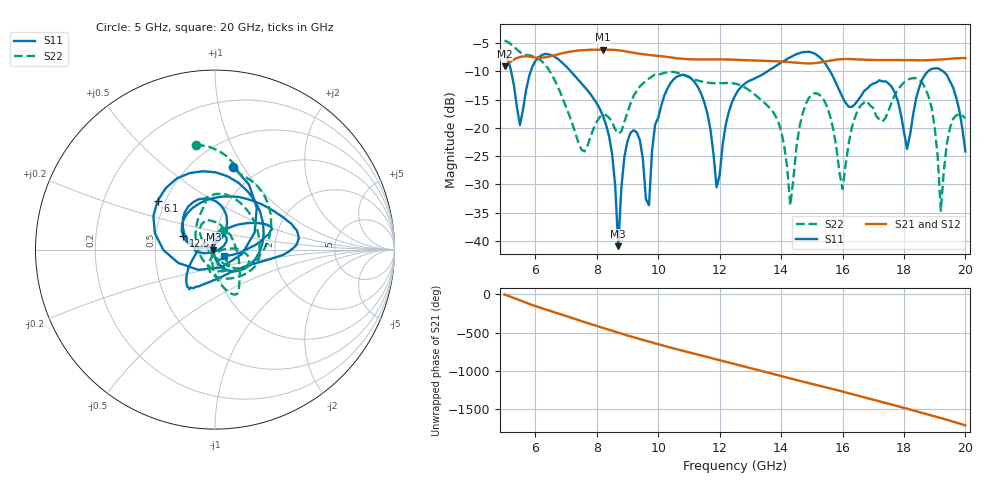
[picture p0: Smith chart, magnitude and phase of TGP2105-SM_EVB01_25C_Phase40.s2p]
! Date: Wednesday, June 05, 2013  1:51 PM
! Filename: C:\Data\Mike_Arnold\TGP2105-SM\Over_Temp\TGP2105-SM_EVB01_25C_Phase40.s2p
! Comments:
!^VDC(V):5.000
!^VDC(mA):0.049
!%Freq(GHz),S11(dB),S11(ang),S21(dB),S21(ang),S12(dB),S12(ang),S22(dB),S22(ang)
# GHz  S  DB  R  50
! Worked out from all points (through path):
!   151 points, 5 GHz to 20 GHz, reference 50 ohm
!   highest |S21| = -6.15 dB at 8.2 GHz (marker M1); lowest = -9.1 dB at 5 GHz (marker M2)
!   lowest |S11| = -41.0 dB at 8.7 GHz (marker M3), VSWR 1.02, Z = 49.1 + j0.0266 ohm
!   |S11| at or under -10 dB: 7.155 GHz to 13.56 GHz (6.4 GHz wide, 61.8 % of centre); 15.6 GHz to 18.78 GHz (3.185 GHz wide, 18.5 % of centre); 19.28 GHz to end of sweep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
!   |S22| runs from -34.7 to -4.5 dB; largest |S21 - S12| = 0.0022
!   S11 on the Smith chart (normalised r, x): 5 GHz: 0.76, +0.90; 6.1 GHz: 0.45, +0.30; 12.5 GHz: 0.69, +0.11; 20 GHz: 1.11, -0.08
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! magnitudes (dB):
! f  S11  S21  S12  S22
! 5 GHz  -6.5  -9.1  -9.1  -4.5
! 5.5 GHz  -19.5  -7.5  -7.5  -6.6
! 6.1 GHz  -7.5  -7.6  -7.6  -7.7
! 7.5 GHz  -12.1  -6.3  -6.3  -23.8
! 8.2 GHz  -17.9  -6.1  -6.2  -17.7
! 8.7 GHz  -41.0  -6.3  -6.3  -21.0
! 9 GHz  -22.3  -6.5  -6.5  -17.2
! 9.7 GHz  -33.7  -7.1  -7.1  -11.3
! 10 GHz  -18.2  -7.3  -7.3  -10.6
! 11.2 GHz  -12.0  -7.9  -7.9  -11.5
! 11.9 GHz  -30.5  -7.9  -7.9  -12.1
! 12.5 GHz  -14.3  -7.9  -8.0  -12.2
! 13.9 GHz  -8.8  -8.2  -8.2  -18.8
! 14.3 GHz  -7.5  -8.4  -8.4  -33.7
! 15 GHz  -6.7  -8.6  -8.6  -14.1
! 16 GHz  -14.6  -7.8  -7.8  -30.8
! 16.5 GHz  -15.1  -7.9  -7.9  -16.8
! 17.5 GHz  -12.1  -8.0  -8.0  -16.9
! 18.1 GHz  -23.7  -8.0  -8.0  -11.5
! 18.7 GHz  -10.5  -8.0  -8.1  -13.1
! 19.2 GHz  -9.7  -7.9  -7.9  -34.7
! 20 GHz  -24.2  -7.6  -7.7  -18.3
